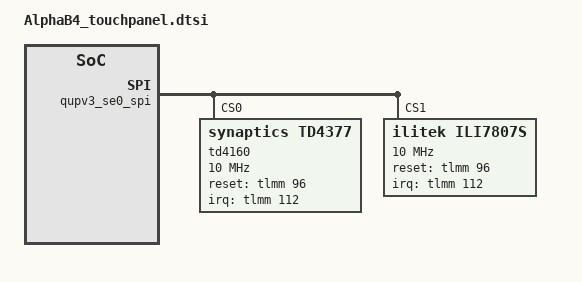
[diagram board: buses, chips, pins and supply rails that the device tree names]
&tlmm {
	ts_int_active {
 		ts_int_active: ts_int_active {
 			mux {
 				pins = "gpio112";
 				function = "gpio";
 			};

 			config {
 				pins = "gpio112";
 				drive-strength = <4>;
 				bias-pull-up;
 			};
 		};
 	};

 	pmx_ts_int_suspend {
 		ts_int_suspend: ts_int_suspend {
 			mux {
 				pins = "gpio112";
 				function = "gpio";
 			};

 			config {
 				pins = "gpio112";
 				drive-strength = <2>;
 				bias-pull-down;
 			};
 		};
 	};

 	pmx_ts_reset_active {
 		ts_reset_active: ts_reset_active {
 			mux {
 				pins = "gpio96";
 				function = "gpio";
 			};

 			config {
 				pins = "gpio96";
 				drive-strength = <4>;
 				bias-pull-up;
 			};
 		};
 	};

 	pmx_ts_reset_suspend {
 		ts_reset_suspend: ts_reset_suspend {
 			mux {
 				pins = "gpio96";
 				function = "gpio";
 			};

 			config {
 				pins = "gpio96";
 				drive-strength = <2>;
 				bias-pull-down;
 			};
 		};
 	};

};

#include "AlphaB4-24304-tpfw.dtsi"

&qupv3_se0_spi {
        status = "ok";
	td4160@0 {
                 compatible = "synaptics,td4377";
                 reg = <0>;
                 chip-num = <1>;
                 chip-name = "NF_TD4160";
                 status = "ok";

                 spi-max-frequency = <10000000>;    //4800000,9600000,15000000,19200000
                 reset-gpio = <&tlmm 96 0x00>;
                 interrupt-parent = <&tlmm>;
                 interrupts = <112 0x0>;
                 irq-gpio = <&tlmm 112 0x2002>;

                 panel_type = <15>;
                 project_id = <24304>;
                 touchpanel,tp-index = <0>;
                 touchpanel,max-num-support = <10>;
                 touchpanel,tx-rx-num = <18 32>;
                 touchpanel,panel-coords = <2880 6416>;
                 touchpanel,display-coords = <720 1604>;
                 touchpanel,touchmajor-limit = <0 216>;
                 touchpanel,button-type = <4>;
                 touchpanel.button-TRx = <0 0>;
                 touchpanel,irq_need_dev_resume_time = <500>;
                 touchpanel,int-mode = <1>;
                 tp_type = <15>;
                 platform_support_project = <24288 24289 24300 24301 24302 24303 24304 24306 24307 24308 24309>;
                 platform_support_project_dir = <24304 24304 24304 24304 24304 24304 24304 24304 24304 24304 24304>;
                 firmware_name = "AC270HT";
                 platform_support_project_commandline = "mdss_dsi_panel_td4160_hx_alpha_b4_video";
                 //panel = <&dsi_oplus21643_ds_ili7807s_1080_2412_120fps_vid>;
                 pinctrl-names = "default", "suspend";
                 pinctrl-0 = <&ts_int_active &ts_reset_active>;
                 pinctrl-1 = <&ts_int_suspend &ts_reset_suspend>;
                 //pinctrl-1 = <&ctp_ts_reset_poweroff>;
                 //pinctrl-2 = <&ctp_ts_reset_poweron>;

                 touchpanel,smooth-level = <255 5 4 3 2 1>;
                 //touchpanel,smooth-level-charging = <255 10 9 8 7 6>;
                 touchpanel,sensitive-level = <255 1 2 3 4 5>;
                 touchpanel,single-optimized-time = <8>;

                 incell_screen;
                 fw_edge_limit_support;
                 black_gesture_support;
                 charger_pump_support;
                 esd_handle_support;
                 //spurious_fingerprint_support;
                 //lcd_trigger_fp_check;
                 black_gesture_test_support;
                 noflash_support;
                 smart_gesture_support;
                 fw_update_app_support;
                 pressure_report_support;
                 new_set_irq_wake_support;
                 lcd_trigger_load_tp_fw_support;
                 fw_update_in_probe_with_headfile;
                 health_monitor_support;
                 snr_read_support;
                 tp_data_record_support;
                 glove_mode_v2_support;
                 exception_upload_support;
                 lpwg_fw_support;
                 game_switch_support;
                 waterproof_support;
         };
        ilitek@1 {
                 compatible = "ilitek,ili7807s";
                 reg = <1>;
                 chip-num = <1>;
                 chip-name = "NF_ILI9883C";
                 status = "ok";

                 spi-max-frequency = <10000000>;    //4800000,9600000,15000000,19200000
                 reset-gpio = <&tlmm 96 0x00>;
                 interrupt-parent = <&tlmm>;
                 interrupts = <112 0x0>;
                 irq-gpio = <&tlmm 112 0x2002>;

                 panel_type = <3>;
                 project_id = <24304>;
                 touchpanel,tp-index = <0>;
                 touchpanel,max-num-support = <10>;
                 touchpanel,tx-rx-num = <18 32>;
                 touchpanel,panel-coords = <2880 6416>;
                 touchpanel,display-coords = <720 1604>;
                 touchpanel,touchmajor-limit = <0 216>;
                 touchpanel,button-type = <4>;
                 touchpanel.button-TRx = <0 0>;
                 touchpanel,irq_need_dev_resume_time = <500>;
                 tp_type = <3>;
                 platform_support_project = <24288 24289 24300 24301 24302 24303 24304 24306 24307 24308 24309>;
                 platform_support_project_dir = <24304 24304 24304 24304 24304 24304 24304 24304 24304 24304 24304>;
                 firmware_name = "AC270BOE";
                 platform_support_project_commandline = "mdss_dsi_panel_ili9883c_boe_alpha_b4_video";
                 //panel = <&dsi_oplus21643_ds_ili7807s_1080_2412_120fps_vid>;
                 pinctrl-names = "default", "suspend";
                 pinctrl-0 = <&ts_int_active &ts_reset_active>;
                 pinctrl-1 = <&ts_int_suspend &ts_reset_suspend>;
                 //pinctrl-1 = <&ctp_ts_reset_poweroff>;
                 //pinctrl-2 = <&ctp_ts_reset_poweron>;

                 touchpanel,smooth-level = <255 5 4 3 2 1>;
                 //touchpanel,smooth-level-charging = <255 10 9 8 7 6>;
                 touchpanel,sensitive-level = <255 1 2 3 4 5>;
                 touchpanel,single-optimized-time = <8>;

                 incell_screen;
                 fw_edge_limit_support;
                 black_gesture_support;
                 charger_pump_support;
                 esd_handle_support;
                 //spurious_fingerprint_support;
                 //lcd_trigger_fp_check;
                 black_gesture_test_support;
                 noflash_support;
                 smart_gesture_support;
                 fw_update_app_support;
                 game_switch_support;
                 pressure_report_support;
                 new_set_irq_wake_support;
                 lcd_trigger_load_tp_fw_support;
                 fw_update_in_probe_with_headfile;
                 health_monitor_support;
                 snr_read_support;
                 glove_mode_v2_support;
                 exception_upload_support;
                 tp_data_record_support;
                 waterproof_support;
         };
 };
